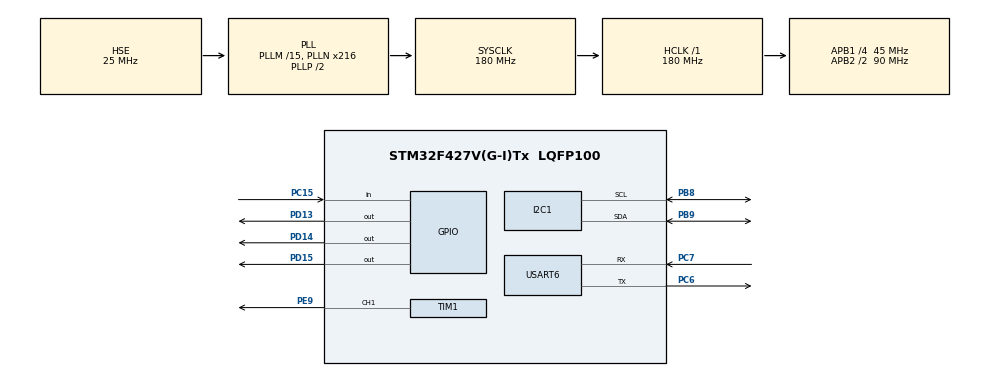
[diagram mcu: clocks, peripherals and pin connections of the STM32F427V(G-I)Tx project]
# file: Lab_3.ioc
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I2C1.I2C_Mode=I2C_Fast
Mcu.Family=STM32F4
Mcu.Name=STM32F427V(G-I)Tx
Mcu.Package=LQFP100
NVIC.PriorityGroup=NVIC_PRIORITYGROUP_4
NVIC.TIM6_DAC_IRQn=true\:0\:0\:false\:false\:true\:true\:true\:true
NVIC.USART6_IRQn=true\:0\:0\:false\:false\:true\:true\:true\:true
PB8.Mode=I2C
PB8.Signal=I2C1_SCL
PB9.Mode=I2C
PB9.Signal=I2C1_SDA
PC15/OSC32_OUT.Signal=GPIO_Input
PC6.Mode=Asynchronous
PC6.Signal=USART6_TX
PC7.Mode=Asynchronous
PC7.Signal=USART6_RX
PD13.Signal=GPIO_Output
PD14.Signal=GPIO_Output
PD15.Signal=GPIO_Output
PE9.Signal=S_TIM1_CH1
PH0/OSC_IN.Mode=HSE-External-Oscillator
PH0/OSC_IN.Signal=RCC_OSC_IN
PH1/OSC_OUT.Mode=HSE-External-Oscillator
PH1/OSC_OUT.Signal=RCC_OSC_OUT
ProjectManager.HeapSize=0x200
ProjectManager.StackSize=0x400
ProjectManager.TargetToolchain=STM32CubeIDE
RCC.48MHZClocksFreq_Value=90000000
RCC.AHBFreq_Value=180000000
RCC.APB1CLKDivider=RCC_HCLK_DIV4
RCC.APB1Freq_Value=45000000
RCC.APB1TimFreq_Value=90000000
RCC.APB2CLKDivider=RCC_HCLK_DIV2
RCC.APB2Freq_Value=90000000
RCC.APB2TimFreq_Value=180000000
RCC.CortexFreq_Value=180000000
RCC.HCLKFreq_Value=180000000
RCC.HSE_VALUE=25000000
RCC.HSI_VALUE=16000000
RCC.LSE_VALUE=32768
RCC.PLLM=15
RCC.PLLN=216
RCC.PLLSourceVirtual=RCC_PLLSOURCE_HSE
RCC.SYSCLKFreq_VALUE=180000000
RCC.SYSCLKSource=RCC_SYSCLKSOURCE_PLLCLK
RCC.VCOOutputFreq_Value=360000000
SH.S_TIM1_CH1.0=TIM1_CH1,PWM Generation1 CH1
TIM1.Channel-PWM\ Generation1\ CH1=TIM_CHANNEL_1
TIM1.Period=999
TIM1.Prescaler=89
TIM1.Pulse-PWM\ Generation1\ CH1=500
TIM6.Period=999
TIM6.Prescaler=89
USART6.VirtualMode=VM_ASYNC
VP_TIM1_VS_ClockSourceINT.Mode=Internal
VP_TIM6_VS_ClockSourceINT.Mode=Enable_Timer
board=custom

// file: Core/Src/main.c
/* USER CODE BEGIN Header */
/**
  ******************************************************************************
  * @file           : main.c
  * @brief          : Main program body
  ******************************************************************************
  * @attention
  *
  * <h2><center>&copy; Copyright (c) 2022 STMicroelectronics.
  * All rights reserved.</center></h2>
  *
  * This software component is licensed by ST under BSD 3-Clause license,
  * the "License"; You may not use this file except in compliance with the
  * License. You may obtain a copy of the License at:
  *                        opensource.org/licenses/BSD-3-Clause
  *
  ******************************************************************************
  */
/* USER CODE END Header */

#include "main.h"

/* USER CODE BEGIN Includes */
#include "ctype.h"
#include "stdbool.h"
#include "stdint.h"
#include "stdio.h"
#include "string.h"
#include "notes.h"
/* USER CODE END Includes */

/* USER CODE BEGIN PD */
#define BUF_SIZE 8192

#define KB_I2C_ADDRESS (0xE2)
#define KB_I2C_READ_ADDRESS ((KB_I2C_ADDRESS) | 1)
#define KB_I2C_WRITE_ADDRESS ((KB_I2C_ADDRESS) & ~1)
#define KB_INPUT_REG (0x0)
#define KB_OUTPUT_REG (0x1)
#define KB_CONFIG_REG (0x3)
#define KB_KEY_DEBOUNCE_TIME (200)
/* USER CODE END PD */

I2C_HandleTypeDef hi2c1;

TIM_HandleTypeDef htim1;
TIM_HandleTypeDef htim6;

UART_HandleTypeDef huart6;

void SystemClock_Config(void);
static void MX_GPIO_Init(void);
static void MX_TIM1_Init(void);
static void MX_TIM6_Init(void);
static void MX_USART6_UART_Init(void);
static void MX_I2C1_Init(void);

/* USER CODE BEGIN 0 */

// ----- RingBuffer -----

struct RingBuffer {
    char data[BUF_SIZE];
    uint8_t head;
    uint8_t tail;
    bool empty;
};

typedef struct RingBuffer RingBuffer;

static void buf_init(RingBuffer *buf) {
    buf->head = 0;
    buf->tail = 0;
    buf->empty = true;
}

static void buf_push(RingBuffer *buf, char * el) {
	uint64_t size = strlen(el);

	if (buf->head + size + 1 > BUF_SIZE) {
		buf->head = 0;
	}

	strcpy(&buf->data[buf->head], el);
//    buf->data[buf->head] = el;
    buf->head += size + 1;

    if (buf->head == BUF_SIZE) {
        buf->head = 0;
    }

    buf->empty = false;
}

static bool buf_pop(RingBuffer *buf, /* out */ char * el) {
    if (buf->empty) {
        return false;
    }

    uint64_t size = strlen(&buf->data[buf->tail]);

    strcpy(el, &buf->data[buf->tail]);
    buf->tail += size + 1;

    if (buf->tail == BUF_SIZE || buf->tail == '\0') {
        buf->tail = 0;
    }

    if (buf->tail == buf->head) {
        buf->empty = true;
    }

    return true;
}

static struct RingBuffer ringBufferRx;
static struct RingBuffer ringBufferTx;

static char el[2] = {"\0\0"};

// ----- UART -----

struct Status {
    bool interrupt_enable;
    uint32_t pmask;
};

static struct Status status;

bool transmit_busy = false;

void enable_interrupt(struct Status *status) {
    status->interrupt_enable = true;
}

void disable_interrupt(struct Status *status) {
    status->interrupt_enable = false;
}

void transmit_uart(const struct Status *status, char *buf, size_t size) {
    if (status->interrupt_enable) {
        if (transmit_busy) {
        	buf_push(&ringBufferTx, buf);
        }
        else {
        	HAL_UART_Transmit_IT(&huart6, buf, size);
        	transmit_busy = true;
        }
        return;
    }
    HAL_UART_Transmit(&huart6, buf, size, 500);
}

void transmit_uart_nl(const struct Status *status, char *buf, size_t size) {
    transmit_uart(status, buf, size);
    transmit_uart(status, "\r\n", 2);
}

void receive_uart(const struct Status *status) {
    if (status->interrupt_enable) {
        HAL_UART_Receive_IT(&huart6, el, sizeof(char));
        return;
    }
    HAL_StatusTypeDef stat = HAL_UART_Receive(&huart6, el, sizeof(char), 0);
    switch (stat) {
        case HAL_OK:{
            buf_push(&ringBufferRx, el);
            transmit_uart(status, el, 1);
            break;
        }
        case HAL_ERROR:
        case HAL_BUSY:
        case HAL_TIMEOUT:
            break;
    }
}

void HAL_UART_RxCpltCallback(UART_HandleTypeDef *huart) {
	buf_push(&ringBufferRx, el);
	transmit_uart(&status, el, 1);
}

void HAL_UART_TxCpltCallback(UART_HandleTypeDef *huart) {
	char buf[1024];
	if (buf_pop(&ringBufferTx, buf)) {
		HAL_UART_Transmit_IT(&huart6, buf, strlen(buf));
	}
	else {
		transmit_busy = false;
	}
}

// --------------------- TIMER ---------------------

uint32_t user_melody[256];
uint32_t user_delays[256];
uint32_t user_melody_size = 0;

uint32_t duration = 1;
bool melody_playing = true;
uint32_t i = 0;

// Начальная мелодия старта инициализация
uint32_t * melody = start_melody;
uint32_t * melody_delays = start_delays;
uint32_t melody_size = sizeof(start_melody) / sizeof (uint32_t);

void play_melody(uint32_t * m, uint32_t * d, uint32_t size) {
	i = 0;
	melody = m;
	melody_delays = d;
	melody_size = size;
	melody_playing = true;
}

void HAL_TIM_PeriodElapsedCallback(TIM_HandleTypeDef * htim) {
	if (htim->Instance == TIM6) {
        if (!melody_playing) {
            return;
        }
		if (duration > 0) duration--;
		if (duration == 0) {
			if (melody[i] == 0) {
				// Выключаем звук
				htim1.Instance->CCR1 = 0; // 0%
				duration = melody_delays[i];
			} else {
				// Проигрываем ноты
				duration = melody_delays[i];
				htim1.Instance->ARR = 90000000 / (melody[i] * htim1.Instance->PSC) - 1;
     			htim1.Instance->CCR1 = htim1.Instance->ARR >> 1; // 50% громкость (100%) - скважность
			}
			i++;
			if (i == melody_size){
                i = 0;
                duration = 1;
                melody_playing = false;

                // Выключаем звук
                htim1.Instance->CCR1 = 0; // 0%
            }
		}
	}
}

// --------------------- KEYBOARD ---------------------
bool is_music_mode = true;
bool is_settings_2 = false;
uint32_t last_pressing_time = 0;
int last_pressed_btn_index = -1;

bool is_co = false;
bool is_test_keyboard_mode = false;
bool last_btn_state = false;

char music[] = {'1', '2', '3', '4', '5', 'x', '!', '!', '!', '?', '!', '\r'};
char settings[] = {'1', '2', '3', '4', '5', '6', '7', '8', '9', ',', '0', 'e'};
char save_exit[] = {'\r', 'q', 's', '!', '!', '!', '!', '!', '!', '?', '!', 'e'};

bool is_btn_press() {
	 return HAL_GPIO_ReadPin(GPIOC,GPIO_PIN_15) == 0;
 }

int stroka[4] = {0, 0, 0, 0};
int stolbec[3] = {0, 0, 0};

int get_pressed_btn_index(){
	const uint32_t t = HAL_GetTick();
	if (t - last_pressing_time < KB_KEY_DEBOUNCE_TIME) return -1;
	int index = -1;
	uint8_t reg_buffer = ~0;
	uint8_t tmp = 0;
	int i = 0;
	HAL_I2C_Mem_Write(&hi2c1, KB_I2C_WRITE_ADDRESS, KB_OUTPUT_REG, 1, &tmp, 1, KB_KEY_DEBOUNCE_TIME);
	for (int row = 0; row < 4; row++) {
		uint8_t buf = ~((uint8_t) (1 << row));
		HAL_I2C_Mem_Write(&hi2c1, KB_I2C_WRITE_ADDRESS, KB_CONFIG_REG, 1, &buf, 1, KB_KEY_DEBOUNCE_TIME);
		HAL_Delay(100);
		HAL_I2C_Mem_Read(&hi2c1, KB_I2C_READ_ADDRESS, KB_INPUT_REG, 1, &reg_buffer, 1, KB_KEY_DEBOUNCE_TIME);
//		if (i == 0)
		switch(reg_buffer >> 4){
			case 6: index = (i == 0) ? row * 3 + 1 : -1; i++; stroka[row] += 1; stolbec[0] += 1; break;
			case 5: index = (i == 0) ? row * 3 + 2 : -1; i++; stroka[row] += 1; stolbec[1] += 1; break;
			case 3: index = (i == 0) ? row * 3 + 3 : -1; i++; stroka[row] += 1; stolbec[2] += 1; break;
			case 0:
			case 1:
			case 2:
			case 4:
				index = -1;
		}
	}
	if (index != -1) last_pressing_time = t;
	if (index == last_pressed_btn_index){
		return -1;
	}
//	if (i != 1) return -1;
	last_pressed_btn_index = index;

	int sum_stroka = 0;
	int sum_stolbec = 0;

	for (int j=0; j <= 3; j++){
		sum_stroka += stroka[j];
		stroka[j] = 0;
	}

	for (int j=0; j <= 2; j++){
		sum_stolbec += stolbec[j];
		stolbec[j] = 0;
	}

	if (sum_stroka != 1){
		return -1;
	}
	if (sum_stolbec != 1){
		return -1;
	}

	return index;
}

char key2char(const int key){
    return is_music_mode ? music[key - 1] : (is_settings_2 ? save_exit[key - 1] : settings[key - 1]);
}

static void set_green_led(bool on) { HAL_GPIO_WritePin(GPIOD, GPIO_PIN_13, on ? GPIO_PIN_SET : GPIO_PIN_RESET); }

static void set_yellow_led(bool on) { HAL_GPIO_WritePin(GPIOD, GPIO_PIN_14, on ? GPIO_PIN_SET : GPIO_PIN_RESET); }

static void set_red_led(bool on) { HAL_GPIO_WritePin(GPIOD, GPIO_PIN_15, on ? GPIO_PIN_SET : GPIO_PIN_RESET); }

/* USER CODE END 0 */

int main(void)
{

  /* MCU Configuration--------------------------------------------------------*/

  /* Reset of all peripherals, Initializes the Flash interface and the Systick. */
  HAL_Init();

  /* Configure the system clock */
  SystemClock_Config();

  /* Initialize all configured peripherals */
  MX_GPIO_Init();
  MX_TIM1_Init();
  MX_TIM6_Init();
  MX_USART6_UART_Init();
  MX_I2C1_Init();
  /* USER CODE BEGIN 2 */
//  uint8_t a = 0x70;
//  HAL_I2C_Mem_Write(&hi2c1, KB_I2C_WRITE_ADDRESS, KB_CONFIG_REG, 1, &a, 1, 100);
  HAL_TIM_PWM_Start(&htim1, TIM_CHANNEL_1);
  HAL_TIM_Base_Start_IT(&htim6);
  /* USER CODE END 2 */

  /* Infinite loop */
  /* USER CODE BEGIN WHILE */
  bool prog_start = true;

  char empty_msg[] = {"\r"};
  char hello_msg[] = {""
		  "Привествую в нашем простой музыкально шкатулке!\r\n"
  };
  char layout_music[] = {
		  "\r\nМузыкальная раскладка:\r\n"
		  "\t1 | 2 | 3\r\n"
		  "\t----------\r\n"
		  "\t4 | 5 | x\r\n"
		  "\t----------\r\n"
		  "\t- | - | -\r\n"
		  "\t----------\r\n"
		  "\t? | - | Enter\r\n"
  };
  char layout_settings[] = {
		  "\r\nПользовательская раскладка 1:\r\n"
		  "\t1 | 2 | 3\r\n"
		  "\t----------\r\n"
		  "\t4 | 5 | 6\r\n"
		  "\t----------\r\n"
		  "\t7 | 8 | 9\r\n"
		  "\t----------\r\n"
		  "\t, | 0 | next\r\n"
		  "\r\n"
		  "\r\nПользовательская раскладка 2:\r\n"
		  "\te | q | s\r\n"
		  "\t----------\r\n"
		  "\t- | - | -\r\n"
		  "\t----------\r\n"
		  "\t- | - | -\r\n"
		  "\t----------\r\n"
		  "\t? | - | back\r\n"
  };
  char list_melody_msg[] = {
		  "\r\nДоступные мелодии:\r\n"
		  "\t1. - StarWars: Imperial March.\r\n"
		  "\t2. - Undertale: Megalovania.\r\n"
		  "\t3. - Zelda.\r\n"
		  "\t4. - Simple Melody.\r\n"
		  "\t5. - Ваша мелодия.\r\n"
		  "\tx. - Завершить мелодию.\r\n"
		  "\t? - Получить информацию.\r\n"
		  "\tEnter - Настройки вашей мелодии."
  };
  char list_settings_msg[] = {
		  "\r\nДоступные мелодии:\r\n"
		  "\t0-9. - Цифры.\r\n"
		  "\t','. - Разделитель\r\n"
		  "\tnext. - Следующая раскладка.\r\n"
		  "\tback. - Предыдущая раскладка\r\n"
		  "\t?. - Получить информацию.\r\n"
		  "\ts. - Сохранить мелодию и выйти.\r\n"
		  "\tq - Выйти без сохранения.\r\n"
  };

  char stop_melody_msg[] = {
		  " - Мелодия остановлена!"
  };

  // Сообщения выбора мелодии
  char invalid_option_msg[] = {" - Неправильный ввод!"};
  char starwars_msg[] = {" - Играет: \"StarWars: Imperial March\""};
  char megalovania_msg[] = {" - Играет: \"Undertale: Megalovania\""};
  char zelda_msg[] = {" - Играет: \"Zelda\""};
  char simple_msg[] = {" - Играет: \"Antoshka Melody\""};
  char user_msg[] = {" - �?грает: \"Ваша мелодия\""};
  char user_bad_msg[] = {" - Вы не создали свою мелодию! :("};
  char gg_msg[] = {" - Мелодия не играет!"};

  // Сообщения Настройки пользовательской мелодии
  char prompt_msg[] = {
		  "Вы перешли в режим настройки вашей мелодии!\r\n"
		  "Введите ваши ноты в данном формате:\r\n"
		  "\tЧАСТОТА,ДЛИТЕЛЬНОСТЬ\r\n"
          "Нажмите 'q', чтобы выйти.\r\n"
          "Нажмите 's', чтобы сохранить мелодию и выйти."
  };
  char note_save_msg[] = {" - Нота сохранена!"};
  char invalid_input_msg[] = {" - Неправильный формат! Попробуйте снова."};
  char input_limit_reached_msg[] = { "\r\nВаша мелодия слишком длинная :(" };
  char save_msg[] = {" - Вы успешно сохранили вашу мелодию и вышли!"};
  char exit_msg[] = {" - Вы вышли из решима настройки вашей мелодии!"};

  char test_keyboard_on[] = {"Тестовый режим запущен!"};
  char test_keyboard_off[] = {"Прикладной режим запущен!"};

  set_green_led(false);

  disable_interrupt(&status);
  buf_init(&ringBufferRx);
  buf_init(&ringBufferTx);

  while (1)
  {
	  if (prog_start){
	  		  transmit_uart_nl(&status, hello_msg, sizeof(hello_msg));
	  		  prog_start = false;
	  	  }

	  bool btn_state = is_btn_press();
	  if (last_btn_state && !btn_state){
		  is_test_keyboard_mode = !is_test_keyboard_mode;
		  if (is_test_keyboard_mode) transmit_uart_nl(&status, test_keyboard_on, sizeof(test_keyboard_on));
		  else transmit_uart_nl(&status, test_keyboard_off, sizeof(test_keyboard_off));
	  }
	  last_btn_state = btn_state;

	  int btn_index = get_pressed_btn_index();
	  if (btn_index != -1) {
		  char received_char[] = {key2char(btn_index)};

		  if (is_test_keyboard_mode){
			  transmit_uart_nl(&status, received_char, sizeof(received_char));
			  continue;
		  } else {
			  transmit_uart(&status, received_char, sizeof(received_char));
		  }

		  switch (received_char[0]) {
			  case '1': {
				  transmit_uart_nl(&status, starwars_msg, sizeof(starwars_msg));
				  play_melody(starwars2_melody, starwars2_delays, sizeof(starwars2_melody) / sizeof (uint32_t));
				  break;
			  }
			  case '2': {
			      transmit_uart_nl(&status, megalovania_msg, sizeof(megalovania_msg));
			      play_melody(megalovania_melody, megalovania_delays, sizeof(megalovania_melody) / sizeof (uint32_t));
			      break;
			  }
			  case '3': {
			      transmit_uart_nl(&status, zelda_msg, sizeof(zelda_msg));
			      play_melody(zelda_melody, zelda_delays, sizeof(zelda_melody) / sizeof (uint32_t));
			      break;
			  }
			  case '4': {
			      transmit_uart_nl(&status, simple_msg, sizeof(simple_msg));
			      play_melody(antoshka_melody, antoshka_delays, sizeof(antoshka_melody) / sizeof (uint32_t));
			      break;
			  }
			  case '5': {
				  if (user_melody_size != 0){
					  transmit_uart_nl(&status, user_msg, sizeof(user_msg));
					  play_melody(user_melody, user_delays, user_melody_size + 1);
					  break;
				  }
			      transmit_uart_nl(&status, user_bad_msg, sizeof(user_bad_msg));
			      break;
			  }
			  case '?': {
				  transmit_uart_nl(&status, layout_music, sizeof(layout_music));
				  transmit_uart_nl(&status, list_melody_msg, sizeof(list_melody_msg));
				  break;
			  }
			  case 'x': {
				  if (!melody_playing) {
					  transmit_uart_nl(&status, gg_msg, sizeof(gg_msg));
					  break;
				  }
				  play_melody(stop_melody, stop_delays, sizeof(stop_melody) / sizeof (uint32_t));
				  transmit_uart_nl(&status, stop_melody_msg, sizeof(stop_melody_msg));
				  break;
			  }
			  case '\r': {
				  bool settings_start = true;

				  uint32_t cur_melody[256];
				  uint32_t cur_delays[256];
				  uint32_t cur_size = 0;

				  uint32_t note = 0;
				  uint32_t delay = 0;
				  bool comma_encountered = 0;

				  set_green_led(true);

				  is_music_mode = false;

				  while (1) {
					  if (settings_start){
						  transmit_uart_nl(&status, prompt_msg, sizeof(prompt_msg));
						  transmit_uart_nl(&status, layout_settings, sizeof(layout_settings));
						  settings_start = false;
					  }

					  int btn_index = get_pressed_btn_index();
					  if (btn_index != -1) {
						  char received_char[] = {key2char(btn_index)};
						  if (received_char[0] != 'e'){
							  transmit_uart(&status, received_char, sizeof(received_char));
						  } else {
							  is_settings_2 = !is_settings_2;
							  set_red_led(is_settings_2);
							  set_green_led(!is_settings_2);
							  continue;
						  }

						  if (received_char[0] == '?'){
							  transmit_uart_nl(&status, layout_settings, sizeof(layout_settings));
							  transmit_uart_nl(&status, list_settings_msg, sizeof(list_settings_msg));
							  continue;
						  }

			              if (received_char[0] == 'q') {
			            	  transmit_uart_nl(&status, exit_msg, sizeof(exit_msg));
			            	  is_music_mode = true;
			            	  is_settings_2 = false;
			            	  set_green_led(0);
			            	  set_red_led(0);
			                  break;
			              }

			              if (received_char[0] == 's') {
			            	  is_music_mode = true;
			            	  is_settings_2 = false;
			            	  transmit_uart_nl(&status, save_msg, sizeof(save_msg));
			                  memcpy(user_melody, cur_melody, sizeof(user_melody) / sizeof (uint32_t));
			                  memcpy(user_delays, cur_delays, sizeof(user_melody) / sizeof (uint32_t));
			                  user_melody_size = cur_size;
			                  set_green_led(0);
			                  set_red_led(0);
			                  break;
			              }

			              if (received_char[0] == ',') {
			                  if (comma_encountered) {
			                      transmit_uart_nl(&status, invalid_input_msg, sizeof(invalid_input_msg));
			                      note = 0;
			                      delay = 0;
			                      comma_encountered = false;
			                      continue;
			                  }
			                  comma_encountered = true;
			                  continue;
			              }

			              if (received_char[0] == '\r') {
			                  transmit_uart_nl(&status, empty_msg, sizeof(empty_msg));
			                  cur_melody[cur_size] = note;
			                  cur_delays[cur_size] = delay;
			                  cur_size++;

			                  note = 0;
			                  delay = 0;
			                  comma_encountered = false;
			                  continue;
			              }

			              if (!isdigit(received_char[0])) {
			                  transmit_uart_nl(&status, invalid_input_msg, sizeof(invalid_input_msg));
			                  note = 0;
			                  delay = 0;
			                  comma_encountered = false;
			                  continue;
			              }

			              if (cur_size == 256) {
			                  transmit_uart_nl(&status, input_limit_reached_msg, sizeof(input_limit_reached_msg));
			              }

			              if (comma_encountered) {
			                  delay = delay * 10 + (received_char[0] - 48);
			              } else {
			                  note = note * 10 + (received_char[0] - 48);
			              }
			          }
				 }
			     break;
			  default: {
			      transmit_uart_nl(&status, invalid_option_msg, sizeof(invalid_option_msg));
			      break;
			  }
		  }
		  }
	  }
//          case '2': {
//              transmit_uart_nl(&status, megalovania_msg, sizeof(megalovania_msg));
//              play_melody(megalovania_melody, megalovania_delays, sizeof(megalovania_melody) / sizeof (uint32_t));
//              break;
//          }
//          case '3': {
//              transmit_uart_nl(&status, zelda_msg, sizeof(zelda_msg));
//              play_melody(zelda_melody, zelda_delays, sizeof(zelda_melody) / sizeof (uint32_t));
//              break;
//          }
//          case '4': {
//              transmit_uart_nl(&status, simple_msg, sizeof(simple_msg));
//              play_melody(antoshka_melody, antoshka_delays, sizeof(antoshka_melody) / sizeof (uint32_t));
//              break;
//          }
//          case '5': {
//        	  if (user_melody_size != 0){
//				  transmit_uart_nl(&status, user_msg, sizeof(user_msg));
//				  play_melody(user_melody, user_delays, sizeof(user_melody) / sizeof (uint32_t));
//				  break;
//        	  }
//        	  transmit_uart_nl(&status, user_bad_msg, sizeof(user_bad_msg));
//        	  break;
//          }
//          case '?': {
//        	  transmit_uart_nl(&status, list_melody_msg, sizeof(list_melody_msg));
//			  break;
//          }
//          case 'x': {
//        	  if (!melody_playing) {
//        		  transmit_uart_nl(&status, gg_msg, sizeof(gg_msg));
//        		  break;
//        	  }
//        	  play_melody(stop_melody, stop_delays, sizeof(stop_melody) / sizeof (uint32_t));
//        	  transmit_uart_nl(&status, stop_melody_msg, sizeof(stop_melody_msg));
//        	  break;
//          }
//          case '\r': {
//              transmit_uart_nl(&status, prompt_msg, sizeof(prompt_msg));
//
//              uint32_t cur_melody[256];
//              uint32_t cur_delays[256];
//              uint32_t cur_size = 0;
//
//              uint32_t note = 0;
//              uint32_t delay = 0;
//              bool comma_encountered = 0;
//
//              while (1) {
//                  receive_uart(&status);
//                  char c[2];
//                  while (!buf_pop(&ringBufferRx, c));
//
//                  if (c[0] == 'q') {
//                	  transmit_uart_nl(&status, exit_msg, sizeof(exit_msg));
//                      break;
//                  }
//
//                  if (c[0] == 's') {
//                	  transmit_uart_nl(&status, save_msg, sizeof(save_msg));
//                      memcpy(user_melody, cur_melody, sizeof(user_melody) / sizeof (uint32_t));
//                      memcpy(user_delays, cur_delays, sizeof(user_melody) / sizeof (uint32_t));
//                      user_melody_size = sizeof(user_melody) / sizeof (uint32_t);
//                      break;
//                  }
//
//                  if (c[0] == ',') {
//                      if (comma_encountered) {
//                          transmit_uart_nl(&status, invalid_input_msg, sizeof(invalid_input_msg));
//                          note = 0;
//                          delay = 0;
//                          comma_encountered = false;
//                          continue;
//                      }
//                      comma_encountered = true;
//                      continue;
//                  }
//
//                  if (c[0] == '\r') {
//                      cur_melody[cur_size] = note;
//                      cur_delays[cur_size] = delay;
//                      cur_size++;
//
//                      note = 0;
//                      delay = 0;
//                      comma_encountered = false;
//                      continue;
//                  }
//
//                  if (!isdigit(c[0])) {
//                      transmit_uart_nl(&status, invalid_input_msg, sizeof(invalid_input_msg));
//                      note = 0;
//                      delay = 0;
//                      comma_encountered = false;
//                      continue;
//                  }
//
//                  if (cur_size == 256) {
//                      transmit_uart_nl(&status, input_limit_reached_msg, sizeof(input_limit_reached_msg));
//                  }
//
//                  if (comma_encountered) {
//                      delay = delay * 10 + (c[0] - 48);
//                  } else {
//                      note = note * 10 + (c[0] - 48);
//                  }
//              }
//              break;
//          }
//          default: {
//              transmit_uart_nl(&status, invalid_option_msg, sizeof(invalid_option_msg));
//              break;
//          }
//      }
    /* USER CODE END WHILE */

  }
}

void SystemClock_Config(void)
{
  RCC_OscInitTypeDef RCC_OscInitStruct = {0};
  RCC_ClkInitTypeDef RCC_ClkInitStruct = {0};

  /** Configure the main internal regulator output voltage
  */
  __HAL_RCC_PWR_CLK_ENABLE();
  __HAL_PWR_VOLTAGESCALING_CONFIG(PWR_REGULATOR_VOLTAGE_SCALE1);
  /** Initializes the CPU, AHB and APB busses clocks
  */
  RCC_OscInitStruct.OscillatorType = RCC_OSCILLATORTYPE_HSE;
  RCC_OscInitStruct.HSEState = RCC_HSE_ON;
  RCC_OscInitStruct.PLL.PLLState = RCC_PLL_ON;
  RCC_OscInitStruct.PLL.PLLSource = RCC_PLLSOURCE_HSE;
  RCC_OscInitStruct.PLL.PLLM = 15;
  RCC_OscInitStruct.PLL.PLLN = 216;
  RCC_OscInitStruct.PLL.PLLP = RCC_PLLP_DIV2;
  RCC_OscInitStruct.PLL.PLLQ = 4;
  if (HAL_RCC_OscConfig(&RCC_OscInitStruct) != HAL_OK)
  {
    Error_Handler();
  }
  /** Activate the Over-Drive mode
  */
  if (HAL_PWREx_EnableOverDrive() != HAL_OK)
  {
    Error_Handler();
  }
  /** Initializes the CPU, AHB and APB busses clocks
  */
  RCC_ClkInitStruct.ClockType = RCC_CLOCKTYPE_HCLK|RCC_CLOCKTYPE_SYSCLK
                              |RCC_CLOCKTYPE_PCLK1|RCC_CLOCKTYPE_PCLK2;
  RCC_ClkInitStruct.SYSCLKSource = RCC_SYSCLKSOURCE_PLLCLK;
  RCC_ClkInitStruct.AHBCLKDivider = RCC_SYSCLK_DIV1;
  RCC_ClkInitStruct.APB1CLKDivider = RCC_HCLK_DIV4;
  RCC_ClkInitStruct.APB2CLKDivider = RCC_HCLK_DIV2;

  if (HAL_RCC_ClockConfig(&RCC_ClkInitStruct, FLASH_LATENCY_5) != HAL_OK)
  {
    Error_Handler();
  }
}

static void MX_I2C1_Init(void)
{

  hi2c1.Instance = I2C1;
  hi2c1.Init.ClockSpeed = 400000;
  hi2c1.Init.DutyCycle = I2C_DUTYCYCLE_2;
  hi2c1.Init.OwnAddress1 = 0;
  hi2c1.Init.AddressingMode = I2C_ADDRESSINGMODE_7BIT;
  hi2c1.Init.DualAddressMode = I2C_DUALADDRESS_DISABLE;
  hi2c1.Init.OwnAddress2 = 0;
  hi2c1.Init.GeneralCallMode = I2C_GENERALCALL_DISABLE;
  hi2c1.Init.NoStretchMode = I2C_NOSTRETCH_DISABLE;
  if (HAL_I2C_Init(&hi2c1) != HAL_OK)
  {
    Error_Handler();
  }
  /** Configure Analogue filter
  */
  if (HAL_I2CEx_ConfigAnalogFilter(&hi2c1, I2C_ANALOGFILTER_ENABLE) != HAL_OK)
  {
    Error_Handler();
  }
  /** Configure Digital filter
  */
  if (HAL_I2CEx_ConfigDigitalFilter(&hi2c1, 0) != HAL_OK)
  {
    Error_Handler();
  }

}

static void MX_TIM1_Init(void)
{

  TIM_ClockConfigTypeDef sClockSourceConfig = {0};
  TIM_MasterConfigTypeDef sMasterConfig = {0};
  TIM_OC_InitTypeDef sConfigOC = {0};
  TIM_BreakDeadTimeConfigTypeDef sBreakDeadTimeConfig = {0};

  htim1.Instance = TIM1;
  htim1.Init.Prescaler = 89;
  htim1.Init.CounterMode = TIM_COUNTERMODE_UP;
  htim1.Init.Period = 999;
  htim1.Init.ClockDivision = TIM_CLOCKDIVISION_DIV1;
  htim1.Init.RepetitionCounter = 0;
  htim1.Init.AutoReloadPreload = TIM_AUTORELOAD_PRELOAD_DISABLE;
  if (HAL_TIM_Base_Init(&htim1) != HAL_OK)
  {
    Error_Handler();
  }
  sClockSourceConfig.ClockSource = TIM_CLOCKSOURCE_INTERNAL;
  if (HAL_TIM_ConfigClockSource(&htim1, &sClockSourceConfig) != HAL_OK)
  {
    Error_Handler();
  }
  if (HAL_TIM_PWM_Init(&htim1) != HAL_OK)
  {
    Error_Handler();
  }
  sMasterConfig.MasterOutputTrigger = TIM_TRGO_RESET;
  sMasterConfig.MasterSlaveMode = TIM_MASTERSLAVEMODE_DISABLE;
  if (HAL_TIMEx_MasterConfigSynchronization(&htim1, &sMasterConfig) != HAL_OK)
  {
    Error_Handler();
  }
  sConfigOC.OCMode = TIM_OCMODE_PWM1;
  sConfigOC.Pulse = 500;
  sConfigOC.OCPolarity = TIM_OCPOLARITY_HIGH;
  sConfigOC.OCNPolarity = TIM_OCNPOLARITY_HIGH;
  sConfigOC.OCFastMode = TIM_OCFAST_DISABLE;
  sConfigOC.OCIdleState = TIM_OCIDLESTATE_RESET;
  sConfigOC.OCNIdleState = TIM_OCNIDLESTATE_RESET;
  if (HAL_TIM_PWM_ConfigChannel(&htim1, &sConfigOC, TIM_CHANNEL_1) != HAL_OK)
  {
    Error_Handler();
  }
  sBreakDeadTimeConfig.OffStateRunMode = TIM_OSSR_DISABLE;
  sBreakDeadTimeConfig.OffStateIDLEMode = TIM_OSSI_DISABLE;
  sBreakDeadTimeConfig.LockLevel = TIM_LOCKLEVEL_OFF;
  sBreakDeadTimeConfig.DeadTime = 0;
  sBreakDeadTimeConfig.BreakState = TIM_BREAK_DISABLE;
  sBreakDeadTimeConfig.BreakPolarity = TIM_BREAKPOLARITY_HIGH;
  sBreakDeadTimeConfig.AutomaticOutput = TIM_AUTOMATICOUTPUT_DISABLE;
  if (HAL_TIMEx_ConfigBreakDeadTime(&htim1, &sBreakDeadTimeConfig) != HAL_OK)
  {
    Error_Handler();
  }
  HAL_TIM_MspPostInit(&htim1);

}

static void MX_TIM6_Init(void)
{

  TIM_MasterConfigTypeDef sMasterConfig = {0};

  htim6.Instance = TIM6;
  htim6.Init.Prescaler = 89;
  htim6.Init.CounterMode = TIM_COUNTERMODE_UP;
  htim6.Init.Period = 999;
  htim6.Init.AutoReloadPreload = TIM_AUTORELOAD_PRELOAD_DISABLE;
  if (HAL_TIM_Base_Init(&htim6) != HAL_OK)
  {
    Error_Handler();
  }
  sMasterConfig.MasterOutputTrigger = TIM_TRGO_RESET;
  sMasterConfig.MasterSlaveMode = TIM_MASTERSLAVEMODE_DISABLE;
  if (HAL_TIMEx_MasterConfigSynchronization(&htim6, &sMasterConfig) != HAL_OK)
  {
    Error_Handler();
  }

}

static void MX_USART6_UART_Init(void)
{

  huart6.Instance = USART6;
  huart6.Init.BaudRate = 115200;
  huart6.Init.WordLength = UART_WORDLENGTH_8B;
  huart6.Init.StopBits = UART_STOPBITS_1;
  huart6.Init.Parity = UART_PARITY_NONE;
  huart6.Init.Mode = UART_MODE_TX_RX;
  huart6.Init.HwFlowCtl = UART_HWCONTROL_NONE;
  huart6.Init.OverSampling = UART_OVERSAMPLING_16;
  if (HAL_UART_Init(&huart6) != HAL_OK)
  {
    Error_Handler();
  }

}

static void MX_GPIO_Init(void)
{
  GPIO_InitTypeDef GPIO_InitStruct = {0};

  /* GPIO Ports Clock Enable */
  __HAL_RCC_GPIOC_CLK_ENABLE();
  __HAL_RCC_GPIOH_CLK_ENABLE();
  __HAL_RCC_GPIOE_CLK_ENABLE();
  __HAL_RCC_GPIOD_CLK_ENABLE();
  __HAL_RCC_GPIOB_CLK_ENABLE();

  /*Configure GPIO pin Output Level */
  HAL_GPIO_WritePin(GPIOD, GPIO_PIN_13|GPIO_PIN_14|GPIO_PIN_15, GPIO_PIN_RESET);

  /*Configure GPIO pin : PC15 */
  GPIO_InitStruct.Pin = GPIO_PIN_15;
  GPIO_InitStruct.Mode = GPIO_MODE_INPUT;
  GPIO_InitStruct.Pull = GPIO_NOPULL;
  HAL_GPIO_Init(GPIOC, &GPIO_InitStruct);

  /*Configure GPIO pins : PD13 PD14 PD15 */
  GPIO_InitStruct.Pin = GPIO_PIN_13|GPIO_PIN_14|GPIO_PIN_15;
  GPIO_InitStruct.Mode = GPIO_MODE_OUTPUT_PP;
  GPIO_InitStruct.Pull = GPIO_NOPULL;
  GPIO_InitStruct.Speed = GPIO_SPEED_FREQ_LOW;
  HAL_GPIO_Init(GPIOD, &GPIO_InitStruct);

}

void Error_Handler(void)
{
}

/************************ (C) COPYRIGHT STMicroelectronics *****END OF FILE****/
